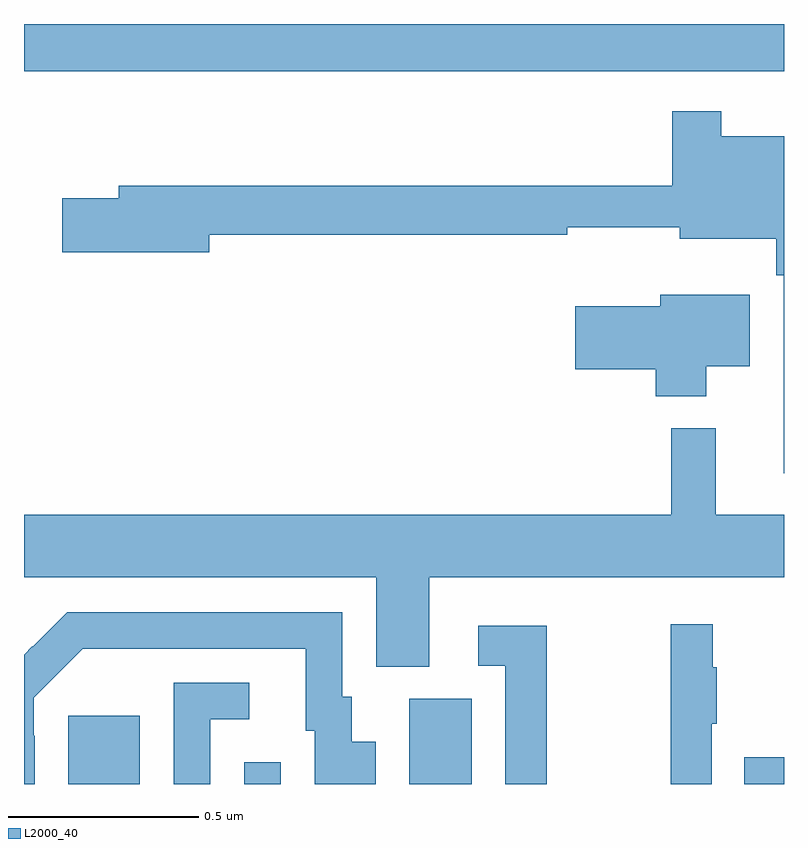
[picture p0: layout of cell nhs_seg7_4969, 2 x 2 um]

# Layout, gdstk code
import gdstk
lib = gdstk.Library(unit=1e-6, precision=1e-09)
def R(c, l, rs):  # rectangles x0, y0, x1, y1
    for r in rs: c.add(gdstk.rectangle(r[:2], r[2:], *l))
def P(c, l, *ps):  # polygons
    for p in ps: c.add(gdstk.Polygon(p, *l))
L2000_40 = (2000, 40)

nhs_seg7_4969 = lib.new_cell('nhs_seg7_4969')
R(nhs_seg7_4969, L2000_40, [(179.117,1072,179.305,1072.18), (179.58,1072,179.676,1072.057), (180.014,1072,180.178,1072.224), (180.895,1072,181,1072.071), (179,1073.876,181,1074)])
P(nhs_seg7_4969, L2000_40, [(181,1073.704),(180.835,1073.704),(180.835,1073.77),(180.706,1073.77),(180.706,1073.575),(179.249,1073.575),(179.249,1073.541),(179.1,1073.541),(179.1,1073.399),(179.488,1073.399),(179.488,1073.446),(180.429,1073.446),(180.429,1073.465),(180.725,1073.465),(180.725,1073.435),(180.979,1073.435),(180.979,1073.339),(180.999,1073.339),(180.999,1072.818),(181,1072.818)],
  [(180.796,1073.099),(180.91,1073.099),(180.91,1073.287),(180.674,1073.287),(180.674,1073.257),(180.45,1073.257),(180.45,1073.092),(180.662,1073.092),(180.662,1073.021),(180.796,1073.021)],
  [(180.067,1072.544),(181,1072.544),(181,1072.708),(180.821,1072.708),(180.821,1072.936),(180.703,1072.936),(180.703,1072.708),(179,1072.708),(179,1072.544),(179.927,1072.544),(179.927,1072.309),(180.067,1072.309)],
  [(179.028,1072.127),(179.025,1072.127),(179.025,1072.227),(179.154,1072.356),(179.741,1072.356),(179.741,1072.14),(179.765,1072.14),(179.765,1072),(179.926,1072),(179.926,1072.111),(179.863,1072.111),(179.863,1072.23),(179.838,1072.23),(179.838,1072.452),(179.114,1072.452),(179.023,1072.361),(179.022,1072.362),(179,1072.34),(179,1072),(179.028,1072)],
  [(180.81,1072.159),(180.823,1072.159),(180.823,1072.307),(180.812,1072.307),(180.812,1072.42),(180.702,1072.42),(180.702,1072),(180.81,1072)],
  [(180.376,1072.417),(180.195,1072.417),(180.195,1072.311),(180.267,1072.311),(180.267,1072),(180.376,1072)],
  [(179.49,1072.17),(179.593,1072.17),(179.593,1072.266),(179.394,1072.266),(179.394,1072),(179.49,1072)])

lib.write_gds('nhs_seg7_4969.gds')
